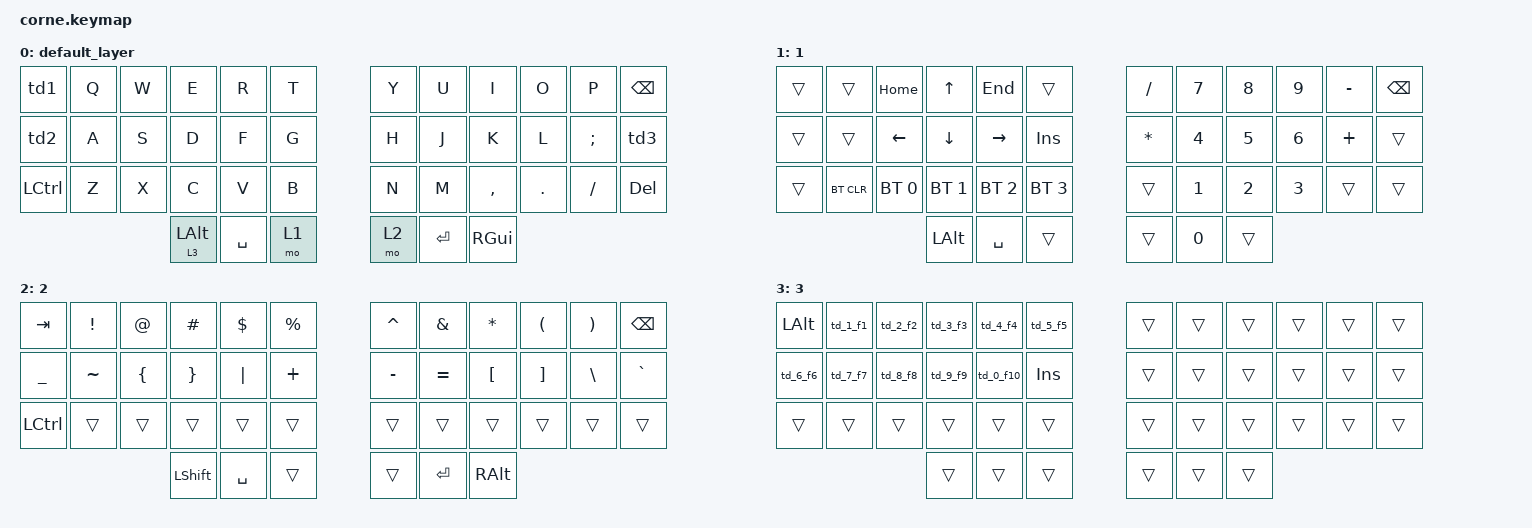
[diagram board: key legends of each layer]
/*
 * Copyright (c) 2020 The ZMK Contributors
 *
 * SPDX-License-Identifier: MIT
 */

#include <dt-bindings/zmk/ext_power.h>
#include <dt-bindings/zmk/mouse.h>
#include <behaviors.dtsi>
#include <dt-bindings/zmk/keys.h>
#include <dt-bindings/zmk/bt.h>
#include <behaviors/mouse_keys.dtsi>

#undef ZMK_MOUSE_DEFAULT_MOVE_VAL
#define ZMK_MOUSE_DEFAULT_MOVE_VAL 1900

&spi1 {
    cs-gpios = <&gpio0 6 GPIO_ACTIVE_LOW>; // P0.06
};

&nice_view {
    compatible = "nice_view";
    spi-max-frequency = <10000000>;
    reg = <0>;
    spi-cs-gpios = <&gpio0 6 GPIO_ACTIVE_LOW>;
};


/ {
        behaviors {
                td0: BSPC_DEL{
                compatible = "zmk,behavior-tap-dance";
                #binding-cells = <0>;
                tapping-term-ms = <175>;
                bindings = <&kp BSPC>, <&kp DEL>;
                };

                td1: TAB_ESC{
                compatible = "zmk,behavior-tap-dance";
                #binding-cells = <0>;
                tapping-term-ms = <200>;
                bindings = <&kp TAB>, <&kp ESC>;
                };

                td2: CAPS_SHIFT {
                compatible = "zmk,behavior-tap-dance";
                #binding-cells = <0>;
                tapping-term-ms = <200>;
                bindings = <&kp LSHFT>, <&kp CAPS>;
                };

                td3: QUOTE_SHIFT {
                compatible = "zmk,behavior-tap-dance";
                #binding-cells = <0>;
                tapping-term-ms = <200>;
                bindings = <&kp RSHFT>, <&kp SQT>;
                };

                td_1_f1: tap_dance_1_f1 {
            compatible = "zmk,behavior-tap-dance";
            #binding-cells = <0>;
            tapping-term-ms = <200>; // Adjust tapping term as needed
            bindings = <&kp N1>, <&kp F1>;
                };

                // Tap dance for 2 or F2
                td_2_f2: tap_dance_2_f2 {
                compatible = "zmk,behavior-tap-dance";
                #binding-cells = <0>;
                tapping-term-ms = <200>;
                bindings = <&kp N2>, <&kp F2>;
                };

                // Tap dance for 3 or F3
                td_3_f3: tap_dance_3_f3 {
                compatible = "zmk,behavior-tap-dance";
                #binding-cells = <0>;
                tapping-term-ms = <200>;
                bindings = <&kp N3>, <&kp F3>;
                };

                // Tap dance for 4 or F4
                td_4_f4: tap_dance_4_f4 {
                compatible = "zmk,behavior-tap-dance";
                #binding-cells = <0>;
                tapping-term-ms = <200>;
                bindings = <&kp N4>, <&kp F4>;
                };

                // Tap dance for 5 or F5
                td_5_f5: tap_dance_5_f5 {
                compatible = "zmk,behavior-tap-dance";
                #binding-cells = <0>;
                tapping-term-ms = <200>;
                bindings = <&kp N5>, <&kp F5>;
                };

                // Tap dance for 6 or F6
                td_6_f6: tap_dance_6_f6 {
                compatible = "zmk,behavior-tap-dance";
                #binding-cells = <0>;
                tapping-term-ms = <200>;
                bindings = <&kp N6>, <&kp F6>;
                };

                // Tap dance for 7 or F7
                td_7_f7: tap_dance_7_f7 {
                compatible = "zmk,behavior-tap-dance";
                #binding-cells = <0>;
                tapping-term-ms = <200>;
                bindings = <&kp N7>, <&kp F7>;
                };

                // Tap dance for 8 or F8
                td_8_f8: tap_dance_8_f8 {
                compatible = "zmk,behavior-tap-dance";
                #binding-cells = <0>;
                tapping-term-ms = <200>;
                bindings = <&kp N8>, <&kp F8>;
                };

                // Tap dance for 9 or F9
                td_9_f9: tap_dance_9_f9 {
                compatible = "zmk,behavior-tap-dance";
                #binding-cells = <0>;
                tapping-term-ms = <200>;
                bindings = <&kp N9>, <&kp F9>;
                };

                // Tap dance for 0 or F10
                td_0_f10: tap_dance_0_f10 {
                compatible = "zmk,behavior-tap-dance";
                #binding-cells = <0>;
                tapping-term-ms = <200>;
                bindings = <&kp N0>, <&kp F10>;
                };


               
        };

        //combos {
          //      compatible = "zmk,combos";
            //    combo_esc {
        //                timeout-ms = <50>;
        //             key-positions = <1 2>;
        //                bindings = <&kp ESC>;
        //        };
        //};



        keymap {
                compatible = "zmk,keymap";
                default_layer {
// -----------------------------------------------------------------------------------------
// |  TAB/ESC |  Q  |  W  |  E  |  R  |  T  |   |  Y  |  U   |  I  |  O  |  P  | BKSP |
// | CAPS/SHIFT |  A  |  S  |  D  |  F  |  G  |   |  H  |  J   |  K  |  L  |  ;  |  '/SHIFT   |
// | CTRL |  Z  |  X  |  C  |  V  |  B  |   |  N  |  M   |  ,  |  .  |  /  | DEL  |
//                    | ALT | SPC | LWR |   | RSE | ENT  |   WIN |
                        bindings = <
   &td1   &kp Q &kp W &kp E &kp R &kp T   &kp Y &kp U  &kp I     &kp O   &kp P    &kp BSPC
   &td2  &kp A &kp S &kp D &kp F &kp G   &kp H &kp J  &kp K     &kp L   &kp SEMI &td3 
   &kp LCTRL &kp Z &kp X &kp C &kp V &kp B   &kp N &kp M  &kp COMMA &kp DOT &kp FSLH &kp DEL
                  &lt 3 LALT &kp SPACE &mo 1  &mo 2 &kp RET  &kp RGUI
                        >;
                };
                1 {
// -----------------------------------------------------------------------------------------
// |  |  |    |    |   |     |         |  | / |   7  |  8  |  9  | -  |           |   |
// |  |  |    |    |   |               |  | * |   4  |  5  |  6  | +  |   |      |    |
// |  | BTCLR| BT1 | BT2 | BT3 | BT4|  |  |   |   1  |  2  |  3  |   |      |    |  |
//                    | LALT | SPC |    |  |         |  0  | ENT |
                        bindings = <
   &trans &trans &kp HOME &kp UP &kp END &trans                             &kp FSLH &kp N7 &kp N8 &kp N9 &kp MINUS &kp BSPC
   &trans &trans &kp LEFT &kp DOWN &kp RIGHT &kp INS                        &kp ASTRK &kp N4 &kp N5 &kp N6 &kp PLUS &trans 
   &trans &bt BT_CLR &bt BT_SEL 0 &bt BT_SEL 1 &bt BT_SEL 2 &bt BT_SEL 3 &trans &kp N1 &kp N2 &kp N3 &trans &trans
                                    &kp LALT &kp SPACE  &trans           &trans  &kp N0 &trans  
                        >;
                };
                2 {
// -----------------------------------------------------------------------------------------
// |  TAB |  !  |  @  |  #  |  $  |  %  |   |  ^  |  &  |  *  |  (  |  )  | BKSP |
// |  _  |  +  |  {  |  }  | "|" |  ~   |   |  -  |  =  |  [  |  ]  |  \  |  `   |
// | CTRL |     |     |     |     |     |   |     |     |     |     |     |      |
//                    | SHIFT| SPC|     |    |  ENT | ALT |
                        bindings = <
   &kp  TAB  &kp EXCL &kp AT &kp HASH &kp DLLR &kp PRCNT   &kp CARET &kp AMPS  &kp ASTRK &kp LPAR &kp RPAR &kp BSPC
   &kp UNDER &kp TILDE  &kp LBRC  &kp RBRC &kp PIPE &kp PLUS       &kp MINUS &kp EQUAL &kp LBKT  &kp RBKT &kp BSLH &kp GRAVE
   &kp LCTRL &trans   &trans &trans   &trans   &trans       &trans &trans &trans &trans &trans &trans
                             &kp LSHFT &kp SPACE &trans         &trans  &kp RET  &kp RALT
                        >;
                };
                3 {
// -----------------------------------------------------------------------------------------
// |  |  | HOME |  UP | END  |   |   |   KC_MS_WH_UP  |  KC_MS_UP   |    |       |             |   |
// |  |  | LEFT |  DOWN | RIGHT  | INS  |   |    KC_MS_LEFT |   KC_MS_DOWN  |  KC_MS_RIGHT  |    |   |  |   |
// |  |  |  |   |   |   |   |   KC_MS_WH_DOWN   |    | INS |      |    |  |
//                    |   |  |    |  |   |  |    |
                        bindings = <
   &kp LALT &td_1_f1 &td_2_f2 &td_3_f3 &td_4_f4 &td_5_f5 &trans &trans &trans &trans &trans &trans
   &td_6_f6 &td_7_f7 &td_8_f8 &td_9_f9 &td_0_f10 &kp INS &trans &trans &trans &trans &trans &trans 
   &trans &trans &trans &trans &trans &trans &trans &trans &trans &trans &trans &trans 
                                    &trans &trans  &trans           &trans  &trans &trans
                        >;
                };
                
                
        };
};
